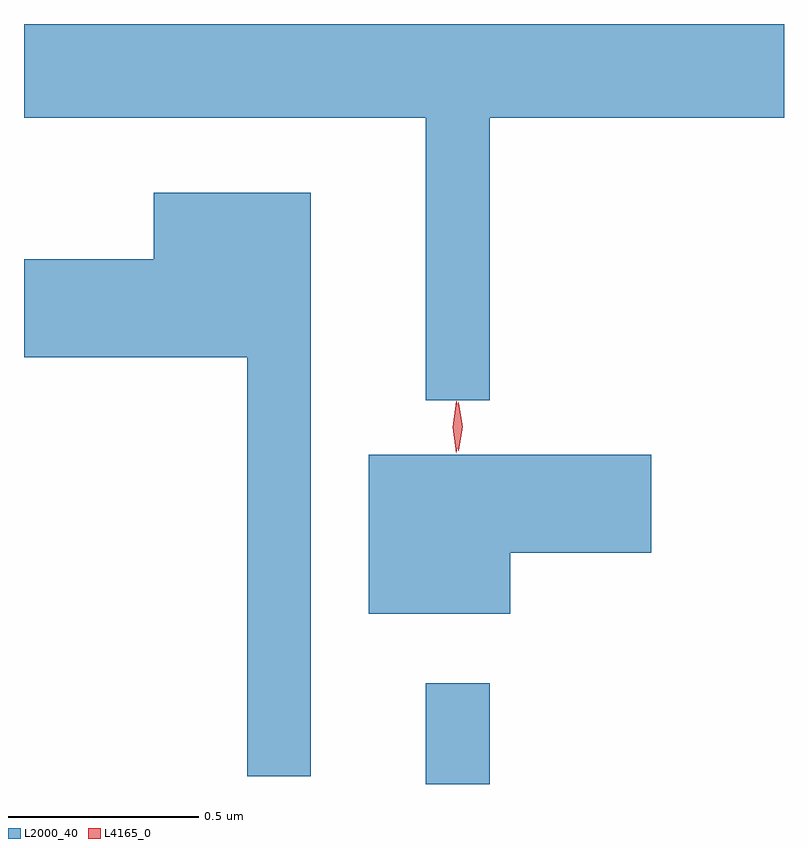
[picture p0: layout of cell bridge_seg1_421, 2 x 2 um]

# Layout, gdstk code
import gdstk
lib = gdstk.Library(unit=1e-6, precision=1e-09)
def R(c, l, rs):  # rectangles x0, y0, x1, y1
    for r in rs: c.add(gdstk.rectangle(r[:2], r[2:], *l))
def P(c, l, *ps):  # polygons
    for p in ps: c.add(gdstk.Polygon(p, *l))
L2000_40 = (2000, 40)
L4165_0 = (4165, 0)

bridge_seg1_421 = lib.new_cell('bridge_seg1_421')
R(bridge_seg1_421, L2000_40, [(603.031,940.003,603.199,940.268)])
P(bridge_seg1_421, L2000_40, [(603.199,941.756),(603.974,941.756),(603.974,942.003),(601.974,942.003),(601.974,941.756),(603.031,941.756),(603.031,941.013),(603.199,941.013)],
  [(602.729,941.559),(602.316,941.559),(602.316,941.384),(601.974,941.384),(601.974,941.126),(602.561,941.126),(602.561,940.023),(602.729,940.023)],
  [(603.254,940.611),(603.624,940.611),(603.624,940.869),(602.881,940.869),(602.881,940.451),(603.254,940.451)])
P(bridge_seg1_421, L4165_0, [(603.111,940.874),(603.111,940.874),(603.102,940.942),(603.112,941.01),(603.113,941.01),(603.113,941.01),(603.122,940.942),(603.112,940.874)],
  [(603.117,940.88),(603.108,940.943),(603.117,941.006),(603.118,941.007),(603.118,941.006),(603.128,940.943),(603.118,940.88),(603.118,940.88)])

lib.write_gds('bridge_seg1_421.gds')
